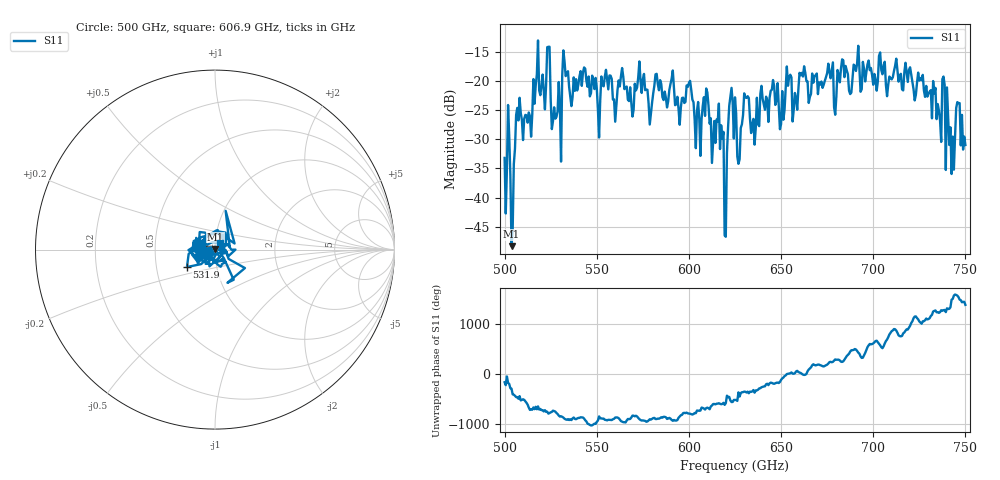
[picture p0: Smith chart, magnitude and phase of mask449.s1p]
!Created with skrf (http://scikit-rf.org).
# GHz S MA R 50.0
!freq magS11 angS11
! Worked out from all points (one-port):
!   401 points, 500 GHz to 750 GHz, reference 50 ohm
!   lowest |S11| = -48.4 dB at 503.8 GHz (marker M1), VSWR 1.01, Z = 50.2 + j0.35 ohm
!   |S11| at or under -10 dB: start of sweep to end of sweep
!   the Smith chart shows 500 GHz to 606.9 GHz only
!   S11 on the Smith chart (normalised r, x): 500 GHz: 0.96, -0.01; 531.9 GHz: 0.72, -0.14; 606.9 GHz: 1.06, +0.08
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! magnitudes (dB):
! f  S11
! 500 GHz  -33.2
! 503.8 GHz  -48.4
! 507.5 GHz  -26.7
! 513.8 GHz  -26.0
! 516.9 GHz  -20.7
! 523.8 GHz  -14.1
! 526.9 GHz  -24.5
! 531.2 GHz  -19.1
! 531.9 GHz  -14.7
! 562.5 GHz  -20.9
! 593.8 GHz  -22.7
! 600 GHz  -20.3
! 606.9 GHz  -26.4
! 617.5 GHz  -27.6
! 619.4 GHz  -46.5
! 622.5 GHz  -22.7
! 625 GHz  -22.8
! 627.5 GHz  -33.4
! 631.2 GHz  -22.9
! 635 GHz  -26.5
! 645 GHz  -21.5
! 656.2 GHz  -26.9
! 687.5 GHz  -22.2
! 718.8 GHz  -20.1
! 738.8 GHz  -20.6
! 742.5 GHz  -35.9
! 745.6 GHz  -23.6
! 750 GHz  -31.0
